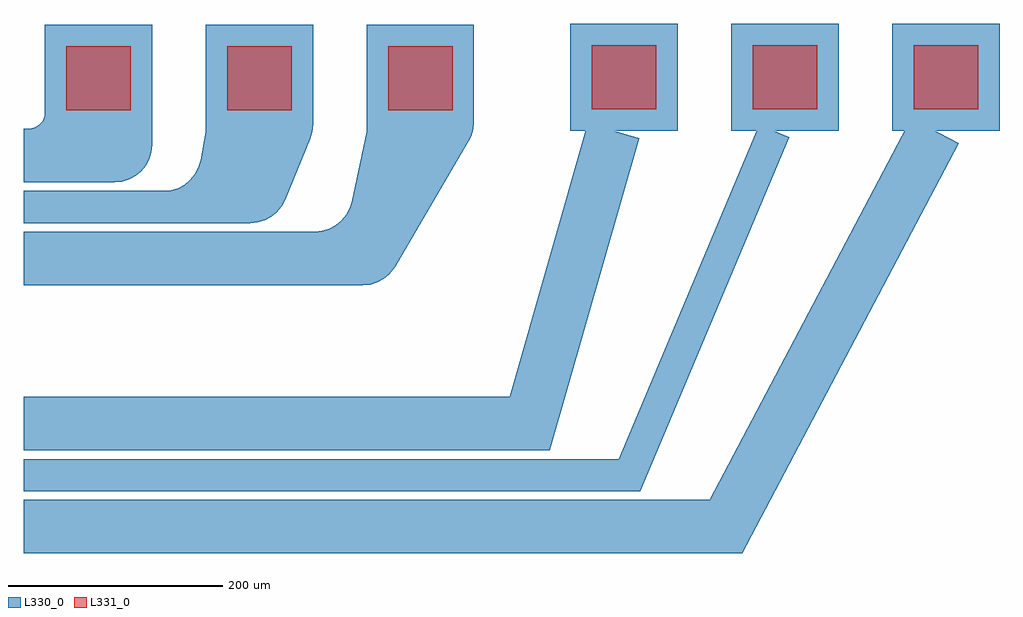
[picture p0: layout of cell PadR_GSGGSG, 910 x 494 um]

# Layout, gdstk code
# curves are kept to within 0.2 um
import gdstk
lib = gdstk.Library(unit=1e-6, precision=1e-09)
def R(c, l, rs):  # rectangles x0, y0, x1, y1
    for r in rs: c.add(gdstk.rectangle(r[:2], r[2:], *l))
def A(c, l, x, y, w, h, nx, ny, dx, dy):  # array of equal rectangles
    R(c, l, [(x+i*dx, y+j*dy, x+i*dx+w, y+j*dy+h) for i in range(nx) for j in range(ny)])
def P(c, l, *ps):  # polygons
    for p in ps: c.add(gdstk.Polygon(p, *l))
L330_0 = (330, 0)
L331_0 = (331, 0)

padr_gsggsg_sub = lib.new_cell('PadR_GSGGSG_sub')
A(padr_gsggsg_sub, L331_0, -10, -30, 60, 60, 3, 1, 150, 0)

rerer = lib.new_cell('rerer')
R(rerer, L330_0, [(-50,-443,280,-393), (-50,-385,280,-355), (-50,-347,280,-297)])
P(rerer, L330_0, [(-50,-135),(-50,-105),(80.79,-105),(87.62,-104.325),(94.185,-102.335),(100.235,-99.1),(105.54,-94.75),(109.89,-89.445),(113.125,-83.395),(115.225,-76.26),(120,-50),(120,50),(220,50),(220,-43.075),(219.325,-49.905),(217.365,-56.4),(193.925,-113.325),(190.66,-119.445),(186.31,-124.75),(181.005,-129.1),(174.955,-132.335),(168.39,-134.325),(161.56,-135)],
  [(-50,-97),(-50,-47),(-42.075,-46.71),(-39.26,-45.86),(-36.665,-44.47),(-34.395,-42.605),(-32.53,-40.335),(-31.14,-37.74),(-30.29,-34.925),(-30,-32),(-30,50),(70,50),(70,-62),(69.325,-68.83),(67.18,-75.33),(64.1,-81.445),(59.75,-86.75),(54.445,-91.1),(48.395,-94.335),(41.83,-96.325),(35,-97)],
  [(-50,-193),(-50,-143),(221.725,-143),(228.555,-142.325),(235.12,-140.335),(241.17,-137.1),(246.475,-132.75),(250.83,-127.445),(254.06,-121.395),(255.945,-115.36),(270,-50),(270,50),(370,50),(370,-40.535),(369.325,-47.365),(367.335,-53.93),(365.23,-58.175),(296.685,-175.64),(291.205,-182.75),(285.9,-187.1),(279.85,-190.335),(273.285,-192.33),(266.455,-193)])
A(rerer, L331_0, -10, -30, 60, 60, 3, 1, 150, 0)

padr_gsggsg = lib.new_cell('PadR_GSGGSG')
A(padr_gsggsg, L330_0, 460, -50, 100, 100, 3, 1, 150, 0)
padr_gsggsg.add(gdstk.FlexPath([(-50,-323),(421.999,-323),(500,-50),(500,-50)], 50, ends="flush", simple_path=True, layer=330, datatype=0))  # L330_0
padr_gsggsg.add(gdstk.FlexPath([(-50,-371),(515,-371),(650,-50)], 30, ends="flush", simple_path=True, layer=330, datatype=0))  # L330_0
padr_gsggsg.add(gdstk.FlexPath([(-50,-419),(605,-419),(800,-50),(800,-50)], 50, ends="flush", simple_path=True, layer=330, datatype=0))  # L330_0
r = gdstk.Reference(padr_gsggsg_sub, (0,-1)); r.repetition = gdstk.Repetition(2, 1, v1=(490,1), v2=(0,0)); padr_gsggsg.add(r)
padr_gsggsg.add(gdstk.Reference(rerer, (0,-1)))

lib.write_gds('PadR_GSGGSG.gds')
